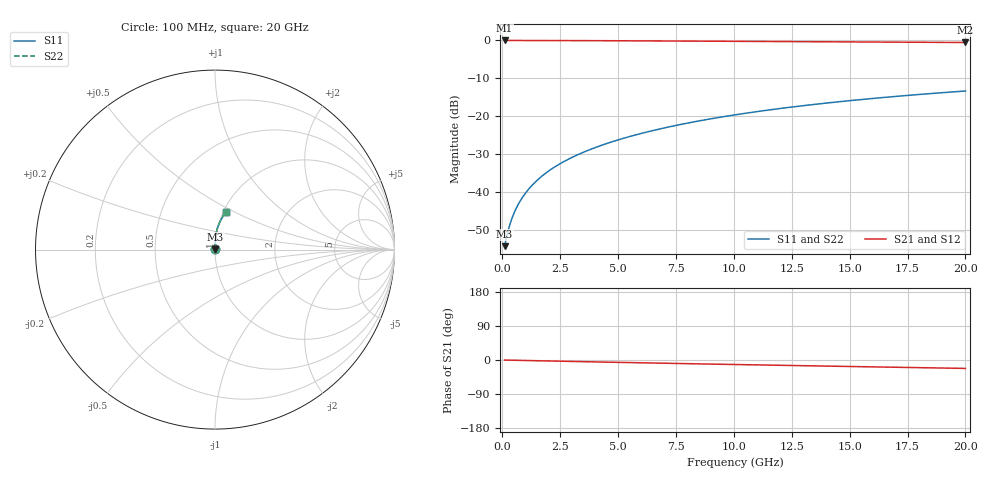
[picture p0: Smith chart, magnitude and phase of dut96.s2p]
! Touchstone file exported from HFSS 2024.1.0
!  File:  C:/UserFiles/LocalFiles/RDL_TSV_Batchsim/temp_RDL_bottom_96_1778694994.aedt
!  Generated:  01:58:59 AM May 14, 2026
!  Design:  RDL_bottom
!  Project:  temp_RDL_bottom_96_1778694994
!  Setup:  Setup1
!  Solution:  Sweep
! Variables:
!  dtsv = 10.80580581um
!  hbump = 3um
!  htsv = 68.5um
!  ldown = 310.21um
!  lrdl = 100um
!  p = 40
!  p1 = 43.5um
!  rhole = 1um
!  t = 450um
!  tdown = 3.56um
!  trdl = 3.915915916um
!  wdown = 21.69um
!  wrdl = 20um
# GHz S MA R 50.000000
! Terminal data exported
! Port[1] = RDL1_T1
! Port[2] = RDL1_T2
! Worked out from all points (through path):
!   200 points, 100 MHz to 20 GHz, reference 50 ohm
!   highest |S21| = -0.01 dB at 100 MHz (marker M1); lowest = -0.6 dB at 20 GHz (marker M2)
!   group delay of S21, straight-line fit = 3.05 ps
!   lowest |S11| = -54.2 dB at 100 MHz (marker M3), VSWR 1.00, Z = 50.2 + j0.106 ohm
!   |S11| at or under -10 dB: start of sweep to end of sweep
!   |S22| runs from -54.2 to -13.3 dB; largest |S21 - S12| = 4.2e-15
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0.1  0.001947 32.9  0.9984 -0.1  0.9984 -0.1  0.001947 32.9
! Gamma 0 0 0 0
! Port Impedance 50 0 50 0
0.2  0.002687 50.4  0.9983 -0.3  0.9983 -0.3  0.002687 50.4
0.3  0.003527 59.4  0.9982 -0.4  0.9982 -0.4  0.003527 59.4
0.4  0.004388 64.9  0.9981 -0.5  0.9981 -0.5  0.004388 64.9
0.5  0.005256 68.8  0.998 -0.7  0.998 -0.7  0.005256 68.8
0.6  0.006132 71.6  0.9979 -0.8  0.9979 -0.8  0.006132 71.6
0.8  0.00791 75.6  0.9977 -1.0  0.9977 -1.0  0.00791 75.6
1.1  0.01063 79.3  0.9974 -1.4  0.9974 -1.4  0.01063 79.3
1.3  0.01247 80.9  0.9972 -1.7  0.9972 -1.7  0.01247 80.9
1.6  0.01525 82.7  0.9969 -2.1  0.9969 -2.1  0.01525 82.7
2.1  0.01997 84.5  0.9962 -2.7  0.9962 -2.7  0.01997 84.5
2.7  0.02573 85.9  0.9951 -3.5  0.9951 -3.5  0.02573 85.9
3.5  0.0336 86.9  0.9933 -4.4  0.9933 -4.4  0.0336 86.9
4.2  0.04065 87.4  0.9915 -5.3  0.9915 -5.3  0.04065 87.4
5  0.04891 87.6  0.9892 -6.3  0.9892 -6.3  0.04891 87.6
5.9  0.05843 87.6  0.9864 -7.3  0.9864 -7.3  0.05844 87.6
6.8  0.06818 87.2  0.9834 -8.4  0.9834 -8.4  0.06818 87.3
8.4  0.08592 86.3  0.978 -10.2  0.978 -10.2  0.08592 86.3
10.1  0.1051 84.8  0.9721 -12.0  0.9721 -12.0  0.1051 84.8
13.4  0.1427 81.4  0.9609 -15.5  0.9609 -15.5  0.1427 81.4
16.7  0.1797 77.7  0.9498 -18.9  0.9498 -18.9  0.1797 77.7
20  0.2155 73.9  0.9386 -22.2  0.9386 -22.2  0.2155 74.0
